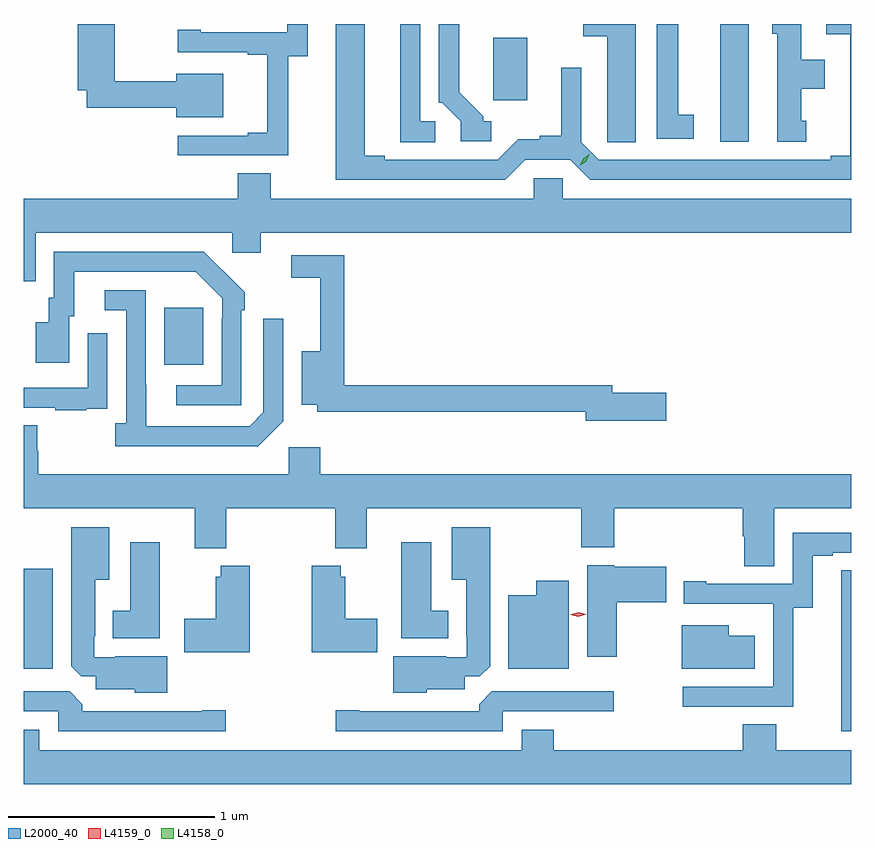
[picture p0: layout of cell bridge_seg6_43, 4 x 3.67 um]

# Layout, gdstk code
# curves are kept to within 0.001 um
import gdstk
lib = gdstk.Library(unit=1e-6, precision=1e-09)
def R(c, l, rs):  # rectangles x0, y0, x1, y1
    for r in rs: c.add(gdstk.rectangle(r[:2], r[2:], *l))
def P(c, l, *ps):  # polygons
    for p in ps: c.add(gdstk.Polygon(p, *l))
L2000_40 = (2000, 40)
L4158_0 = (4158, 0)
L4159_0 = (4159, 0)

bridge_seg6_43 = lib.new_cell('bridge_seg6_43')
R(bridge_seg6_43, L2000_40, [(1100.799,966.542,1100.941,967.024), (1101.479,968.009,1101.667,968.284), (1104.164,969.087,1104.304,969.656)])
P(bridge_seg6_43, L2000_40, [(1102.077,969.499),(1102.171,969.499),(1102.171,969.656),(1102.074,969.656),(1102.074,969.615),(1101.655,969.615),(1101.655,969.628),(1101.543,969.628),(1101.543,969.519),(1101.881,969.519),(1101.881,969.507),(1101.977,969.507),(1101.977,969.13),(1101.881,969.13),(1101.881,969.117),(1101.543,969.117),(1101.543,969.021),(1102.077,969.021)],
  [(1103.758,969.656),(1103.502,969.656),(1103.502,969.596),(1103.618,969.596),(1103.618,969.193),(1103.619,969.193),(1103.619,969.085),(1103.758,969.085)],
  [(1103.059,969.186),(1103.02,969.186),(1103.02,969.21),(1102.903,969.326),(1102.903,969.656),(1102.806,969.656),(1102.806,969.276),(1102.821,969.276),(1102.911,969.186),(1102.911,969.09),(1103.059,969.09)],
  [(1104.037,969.218),(1103.962,969.218),(1103.962,969.656),(1103.858,969.656),(1103.858,969.102),(1104.037,969.102)],
  [(1103.223,969),(1103.441,969),(1103.537,968.904),(1104.799,968.904),(1104.799,969.656),(1104.678,969.656),(1104.678,969.606),(1104.794,969.606),(1104.794,969.02),(1104.698,969.02),(1104.698,969),(1103.577,969),(1103.493,969.084),(1103.493,969.445),(1103.396,969.445),(1103.396,969.116),(1103.292,969.116),(1103.292,969.098),(1103.189,969.098),(1103.091,969),(1102.543,969),(1102.543,969.02),(1102.447,969.02),(1102.447,969.656),(1102.308,969.656),(1102.307,968.904),(1103.127,968.904)],
  [(1102.789,969.186),(1102.716,969.186),(1102.716,969.656),(1102.619,969.656),(1102.619,969.085),(1102.789,969.085)],
  [(1101.763,969.415),(1101.536,969.415),(1101.536,969.38),(1101.24,969.38),(1101.24,969.656),(1101.062,969.656),(1101.062,969.335),(1101.104,969.335),(1101.104,969.252),(1101.536,969.252),(1101.536,969.206),(1101.763,969.206)],
  [(1104.58,969.189),(1104.556,969.189),(1104.556,969.344),(1104.67,969.344),(1104.67,969.484),(1104.556,969.484),(1104.556,969.656),(1104.416,969.656),(1104.416,969.609),(1104.44,969.609),(1104.44,969.087),(1104.58,969.087)],
  [(1103.233,969.432),(1103.232,969.432),(1103.232,969.59),(1103.069,969.59),(1103.069,969.288),(1103.233,969.288)],
  [(1100.857,968.648),(1101.807,968.648),(1101.807,968.55),(1101.946,968.55),(1101.946,968.648),(1104.799,968.648),(1104.799,968.812),(1103.403,968.812),(1103.403,968.91),(1103.265,968.91),(1103.265,968.812),(1101.993,968.812),(1101.993,968.936),(1101.833,968.936),(1101.833,968.812),(1100.799,968.812),(1100.799,968.413),(1100.857,968.413)],
  [(1101.852,968.273),(1101.867,968.273),(1101.867,968.361),(1101.67,968.556),(1100.946,968.556),(1100.946,968.334),(1100.921,968.334),(1100.921,968.215),(1100.858,968.215),(1100.858,968.019),(1101.019,968.019),(1101.019,968.244),(1101.043,968.244),(1101.043,968.46),(1101.631,968.46),(1101.759,968.331),(1101.759,968.231),(1101.756,968.231),(1101.756,967.911),(1101.537,967.911),(1101.537,967.815),(1101.852,967.815)],
  [(1103.905,967.874),(1103.644,967.874),(1103.644,967.91),(1102.349,967.91),(1102.349,968.538),(1102.092,968.538),(1102.092,968.43),(1102.232,968.43),(1102.232,968.074),(1102.142,968.074),(1102.142,967.817),(1102.218,967.817),(1102.218,967.782),(1103.516,967.782),(1103.516,967.739),(1103.905,967.739)],
  [(1102.053,967.737),(1102.053,968.233),(1101.957,968.233),(1101.957,967.779),(1101.891,967.713),(1101.391,967.713),(1101.39,968.37),(1101.192,968.37),(1101.192,968.274),(1101.294,968.274),(1101.294,967.726),(1101.243,967.726),(1101.243,967.616),(1101.932,967.616)],
  [(1101.101,967.797),(1101.203,967.797),(1101.203,967.906),(1101.204,967.906),(1101.204,968.161),(1101.108,968.161),(1101.108,967.899),(1100.799,967.899),(1100.799,967.803),(1100.953,967.803),(1100.953,967.791),(1101.101,967.791)],
  [(1104.427,967.316),(1104.799,967.316),(1104.799,967.48),(1102.232,967.48),(1102.232,967.612),(1102.08,967.612),(1102.08,967.48),(1100.87,967.48),(1100.87,967.593),(1100.865,967.593),(1100.865,967.718),(1100.799,967.718),(1100.799,967.316),(1101.626,967.316),(1101.626,967.124),(1101.779,967.124),(1101.779,967.316),(1102.304,967.316),(1102.304,967.124),(1102.456,967.124),(1102.456,967.316),(1103.494,967.316),(1103.494,967.127),(1103.654,967.127),(1103.654,967.316),(1104.275,967.316),(1104.275,967.182),(1104.28,967.182),(1104.28,967.036),(1104.427,967.036)],
  [(1101.493,966.601),(1101.241,966.601),(1101.241,966.597),(1101.141,966.597),(1101.141,966.697),(1101.145,966.697),(1101.145,966.971),(1101.214,966.971),(1101.214,967.225),(1101.029,967.225),(1101.029,966.553),(1101.078,966.504),(1101.149,966.504),(1101.149,966.443),(1101.336,966.443),(1101.336,966.425),(1101.493,966.425)],
  [(1102.746,966.443),(1102.93,966.443),(1102.93,966.504),(1103.004,966.504),(1103.053,966.553),(1103.053,967.225),(1102.868,967.225),(1102.868,966.971),(1102.937,966.971),(1102.937,966.697),(1102.941,966.697),(1102.941,966.597),(1102.841,966.597),(1102.841,966.601),(1102.586,966.601),(1102.586,966.425),(1102.746,966.425)],
  [(1104.519,966.835),(1104.613,966.835),(1104.613,967.086),(1104.709,967.086),(1104.709,967.101),(1104.799,967.101),(1104.799,967.197),(1104.516,967.197),(1104.516,966.951),(1104.097,966.951),(1104.097,966.964),(1103.989,966.964),(1103.989,966.855),(1104.419,966.855),(1104.419,966.854),(1104.42,966.854),(1104.42,966.453),(1103.985,966.453),(1103.985,966.357),(1104.519,966.357)],
  [(1101.457,967.153),(1101.314,967.153),(1101.314,966.82),(1101.23,966.82),(1101.23,966.689),(1101.457,966.689)],
  [(1102.852,966.82),(1102.768,966.82),(1102.768,967.153),(1102.625,967.153),(1102.625,966.689),(1102.852,966.689)],
  [(1103.664,966.863),(1103.904,966.863),(1103.904,967.033),(1103.652,967.033),(1103.652,967.042),(1103.522,967.042),(1103.522,966.6),(1103.664,966.6)],
  [(1102.507,966.783),(1102.354,966.783),(1102.354,966.985),(1102.332,966.985),(1102.332,967.039),(1102.192,967.039),(1102.192,966.62),(1102.507,966.62)],
  [(1101.891,967.039),(1101.751,967.039),(1101.751,966.985),(1101.728,966.985),(1101.728,966.783),(1101.576,966.783),(1101.576,966.62),(1101.891,966.62)],
  [(1104.799,967.016),(1104.75,967.016),(1104.75,966.908),(1104.749,966.908),(1104.749,966.24),(1104.799,966.24)],
  [(1103.434,966.967),(1103.276,966.967),(1103.276,966.895),(1103.141,966.895),(1103.141,966.542),(1103.434,966.542)],
  [(1104.331,966.7),(1104.205,966.7),(1104.205,966.751),(1103.978,966.751),(1103.978,966.542),(1104.331,966.542)],
  [(1101.775,966.341),(1101.662,966.341),(1101.662,966.336),(1101.083,966.336),(1101.083,966.37),(1101.021,966.432),(1100.799,966.432),(1100.799,966.336),(1100.967,966.336),(1100.967,966.24),(1101.775,966.24)],
  [(1103.115,966.336),(1103.65,966.336),(1103.65,966.432),(1103.061,966.432),(1103,966.37),(1103,966.336),(1102.42,966.336),(1102.42,966.341),(1102.308,966.341),(1102.308,966.24),(1103.115,966.24)],
  [(1104.799,966.148),(1104.435,966.148),(1104.435,966.272),(1104.275,966.272),(1104.275,966.148),(1103.36,966.148),(1103.36,966.247),(1103.207,966.247),(1103.207,966.148),(1100.875,966.148),(1100.875,966.247),(1100.799,966.247),(1100.799,965.984),(1104.799,965.984)])
P(bridge_seg6_43, L4158_0, [(1103.487,968.971),(1103.487,968.971),(1103.502,969.005),(1103.533,969.027),(1103.533,969.027),(1103.533,969.026),(1103.518,968.993),(1103.487,968.971)])
P(bridge_seg6_43, L4159_0, [(1103.479,966.793),(1103.44,966.801),(1103.44,966.802),(1103.44,966.802),(1103.478,966.813),(1103.517,966.804),(1103.517,966.804),(1103.517,966.804)])

lib.write_gds('bridge_seg6_43.gds')
